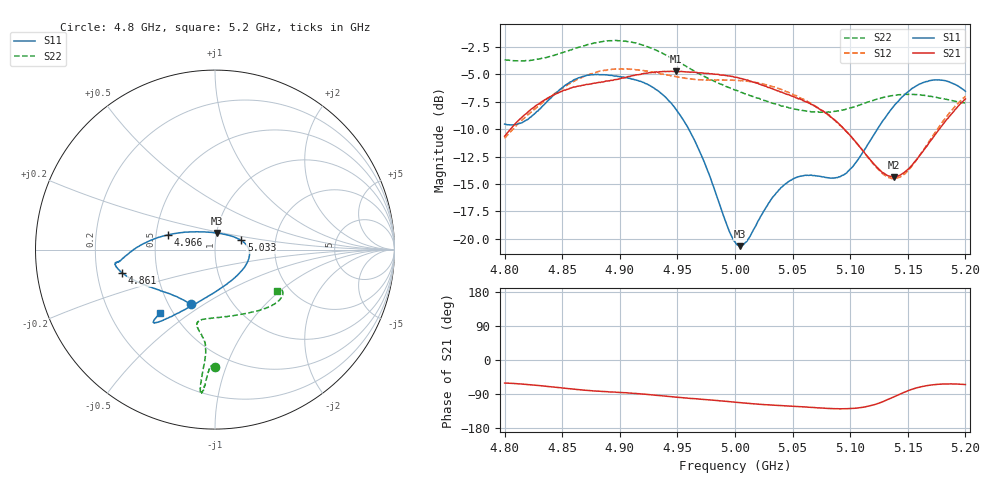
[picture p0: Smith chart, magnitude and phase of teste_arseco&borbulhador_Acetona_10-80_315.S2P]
! Network Analyzer HP8722D
! Hewlett-Packard
! Data name: Linha & Wilkinson
! Saver's name: Rodrigo Anjos
! Comments: Teste da utilização de aquisição
! continua pelo VNA HP8722D
! Time and date: 17/4/2025 16:59
!  Frequency  S11  S21  S12  S22
# HZ  S  MA R 50
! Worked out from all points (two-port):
!   401 points, 4.8 GHz to 5.2 GHz, reference 50 ohm
!   highest |S21| = -4.71 dB at 4.949 GHz (marker M1); lowest = -14.4 dB at 5.138 GHz (marker M2)
!   |S21| within 3 dB of the highest: 4.829 GHz to 5.066 GHz (236.4 MHz wide, 4.78 % of centre); 5.195275 GHz to end of sweep
!   lowest |S11| = -20.7 dB at 5.004 GHz (marker M3), VSWR 1.20, Z = 50 + j9.29 ohm
!   |S11| at or under -10 dB: 4.96 GHz to 5.124 GHz (163.7 MHz wide, 3.25 % of centre)
!   |S22| runs from -8.5 to -1.9 dB; largest |S21 - S12| = 0.87
!   S11 on the Smith chart (normalised r, x): 4.8 GHz: 0.64, -0.44; 4.861 GHz: 0.31, -0.11; 4.966 GHz: 0.58, +0.10; 5.033 GHz: 1.33, +0.14; 5.2 GHz: 0.42, -0.39
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4.8e9  0.3338 -114.0  0.2938 -60.9  0.2876 -175.1  0.656 -90.1
4.819e9  0.3484 -133.9  0.3731 -64.3  0.3626 -174.0  0.6508 -91.9
4.861e9  0.5338 -165.9  0.4929 -77.2  0.5266 -177.2  0.7374 -94.0
4.867e9  0.5488 -168.4  0.5013 -78.8  0.5442 -178.3  0.7559 -94.2
4.9e9  0.5494 -172.7  0.5372 -85.7  0.595 175.1  0.8019 -95.7
4.934e9  0.4701 -178.5  0.5777 -93.9  0.5695 171.6  0.7141 -96.0
4.949e9  0.3884 174.4  0.5814 -98.0  0.5502 171.9  0.6498 -95.5
4.966e9  0.2735 162.5  0.575 -102.3  0.5347 173.5  0.5786 -95.1
5e9  0.09669 99.1  0.5457 -111.3  0.5293 175.9  0.4767 -99.2
5.004e9  0.09247 84.8  0.5405 -112.4  0.5273 175.7  0.4687 -100.2
5.012e9  0.1004 57.7  0.5268 -114.4  0.5225 175.6  0.4531 -101.8
5.033e9  0.1555 19.5  0.4832 -119.1  0.4941 174.4  0.4152 -103.4
5.049e9  0.1854 3.2  0.4484 -121.9  0.458 174.0  0.394 -99.7
5.067e9  0.1945 -16.2  0.4095 -125.0  0.4116 173.4  0.3795 -90.2
5.096e9  0.1983 -66.8  0.3116 -128.6  0.3107 174.5  0.3899 -67.6
5.123e9  0.3131 -108.6  0.2124 -115.8  0.211 -170.4  0.4337 -48.6
5.134e9  0.3797 -117.4  0.1932 -102.7  0.1898 -155.7  0.4478 -43.0
5.138e9  0.404 -119.6  0.1914 -97.1  0.1887 -149.4  0.451 -41.2
5.15e9  0.4678 -125.0  0.2072 -81.6  0.204 -131.2  0.456 -36.8
5.17e9  0.5281 -129.4  0.2805 -66.0  0.2861 -112.2  0.4468 -32.1
5.184e9  0.5236 -130.7  0.3516 -63.1  0.3631 -107.4  0.4325 -31.3
5.2e9  0.4711 -130.9  0.4349 -64.7  0.4474 -106.8  0.4146 -33.6
